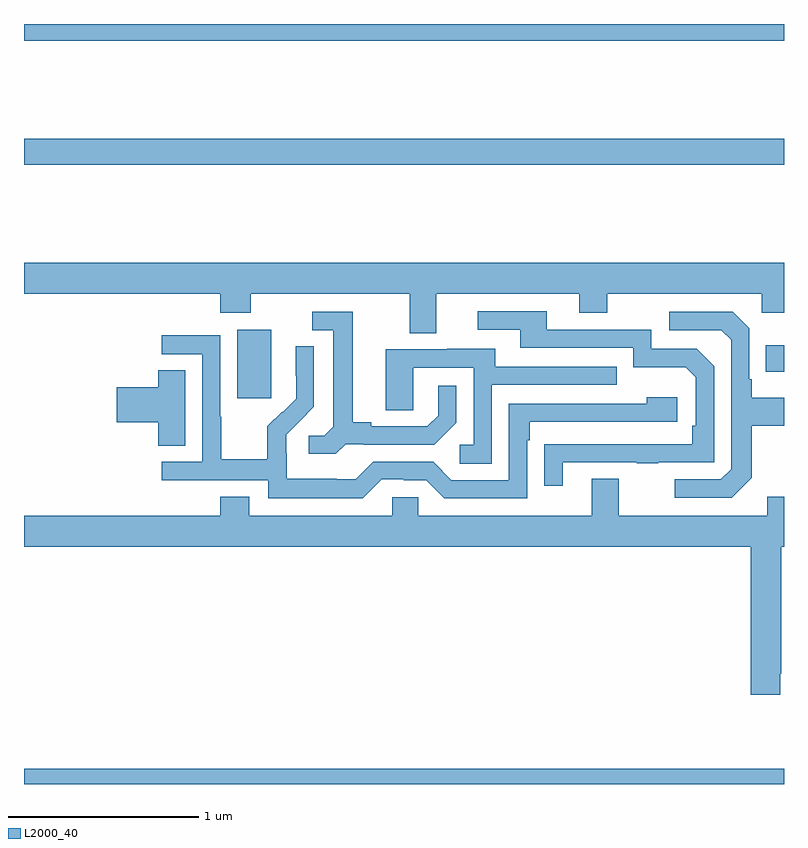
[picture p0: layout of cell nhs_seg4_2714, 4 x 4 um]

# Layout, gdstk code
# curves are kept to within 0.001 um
import gdstk
lib = gdstk.Library(unit=1e-6, precision=1e-09)
def R(c, l, rs):  # rectangles x0, y0, x1, y1
    for r in rs: c.add(gdstk.rectangle(r[:2], r[2:], *l))
def P(c, l, *ps):  # polygons
    for p in ps: c.add(gdstk.Polygon(p, *l))
L2000_40 = (2000, 40)

nhs_seg4_2714 = lib.new_cell('nhs_seg4_2714')
R(nhs_seg4_2714, L2000_40, [(253,800.9,257,800.98), (254.123,802.929,254.302,803.29), (256.903,803.069,257,803.209), (253,804.16,257,804.296), (253,804.812,257,804.9)])
P(nhs_seg4_2714, L2000_40, [(253,803.48),(254.033,803.48),(254.033,803.381),(254.193,803.381),(254.193,803.48),(255.029,803.48),(255.029,803.272),(255.169,803.272),(255.169,803.48),(255.923,803.48),(255.923,803.381),(256.071,803.381),(256.071,803.48),(256.884,803.48),(256.884,803.381),(257,803.381),(257,803.644),(253,803.644)],
  [(255.835,802.593),(256.225,802.593),(256.225,802.588),(256.337,802.588),(256.337,802.593),(256.632,802.593),(256.632,803.1),(256.542,803.19),(256.302,803.19),(256.302,803.292),(255.751,803.292),(255.751,803.388),(255.387,803.388),(255.387,803.292),(255.611,803.292),(255.611,803.196),(256.206,803.196),(256.206,803.093),(256.483,803.093),(256.536,803.04),(256.536,802.786),(256.516,802.786),(256.516,802.689),(255.739,802.688),(255.739,802.47),(255.835,802.47)],
  [(254.694,802.689),(254.788,802.689),(254.788,802.686),(255.16,802.686),(255.276,802.802),(255.276,802.996),(255.179,802.996),(255.179,802.839),(255.122,802.782),(254.827,802.782),(254.827,802.805),(254.731,802.805),(254.731,803.385),(254.517,803.385),(254.517,803.289),(254.627,803.289),(254.627,802.781),(254.58,802.734),(254.499,802.734),(254.499,802.637),(254.642,802.637)],
  [(256.831,802.513),(256.831,802.786),(257,802.786),(257,802.933),(256.831,802.933),(256.831,803.029),(256.818,803.029),(256.818,803.298),(256.731,803.385),(256.395,803.385),(256.395,803.289),(256.671,803.289),(256.722,803.238),(256.722,802.557),(256.668,802.503),(256.425,802.503),(256.425,802.407),(256.725,802.407)],
  [(254.883,802.503),(254.999,802.503),(254.999,802.5),(255.117,802.5),(255.213,802.404),(255.648,802.404),(255.648,802.709),(255.661,802.709),(255.661,802.806),(256.438,802.806),(256.438,802.936),(256.277,802.936),(256.277,802.902),(255.552,802.902),(255.552,802.5),(255.249,802.5),(255.153,802.596),(254.838,802.596),(254.745,802.503),(254.645,802.503),(254.645,802.507),(254.382,802.507),(254.382,802.641),(254.38,802.641),(254.38,802.738),(254.526,802.886),(254.526,803.204),(254.43,803.204),(254.43,803.05),(254.432,803.05),(254.432,802.928),(254.361,802.857),(254.358,802.86),(254.281,802.783),(254.281,802.609),(254.037,802.609),(254.037,802.832),(254.034,802.832),(254.034,803.262),(253.725,803.262),(253.725,803.163),(253.938,803.163),(253.938,802.596),(253.725,802.596),(253.725,802.5),(254.286,802.5),(254.286,802.403),(254.783,802.403)],
  [(255.462,803.001),(256.121,803.001),(256.121,803.097),(255.481,803.097),(255.481,803.191),(255.227,803.191),(255.227,803.187),(254.903,803.187),(254.903,802.867),(255.048,802.867),(255.048,803.091),(255.366,803.091),(255.366,802.686),(255.294,802.686),(255.294,802.585),(255.462,802.585)],
  [(253.849,803.078),(253.706,803.078),(253.706,802.988),(253.488,802.988),(253.488,802.805),(253.706,802.805),(253.706,802.681),(253.849,802.681)],
  [(256.981,801.481),(256.986,801.481),(256.986,802.148),(257,802.148),(257,802.411),(256.913,802.411),(256.913,802.312),(256.129,802.312),(256.129,802.507),(255.989,802.507),(255.989,802.312),(255.075,802.312),(255.075,802.41),(254.937,802.41),(254.937,802.312),(254.185,802.312),(254.185,802.411),(254.033,802.411),(254.033,802.312),(253,802.312),(253,802.148),(256.826,802.148),(256.826,801.369),(256.981,801.369)])

lib.write_gds('nhs_seg4_2714.gds')
